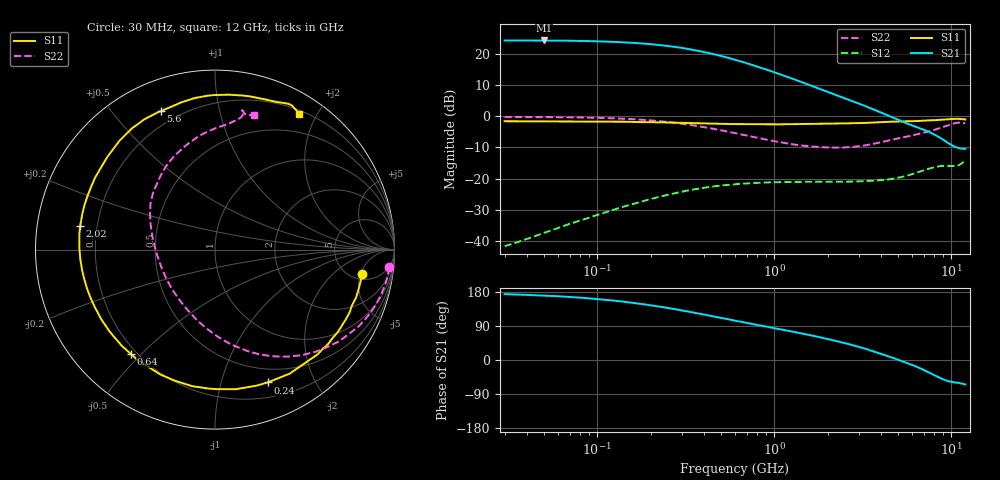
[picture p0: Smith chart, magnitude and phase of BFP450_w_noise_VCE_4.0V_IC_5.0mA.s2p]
! (c) 2015  Infineon Technologies AG, Munich
! Infineon Technologies  Discrete & RF Semiconductors
! BFP450
! VCE =  4.0 V,  IC =  5.0 mA
! Common Emitter S-Parameters:  Nov 2015
# GHz  S  MA  R  50
!  f  S11  S21  S12  S22
! GHz  MAG  ANG  MAG  ANG  MAG  ANG  MAG  ANG
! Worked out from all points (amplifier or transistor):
!   239 points, 30 MHz to 12 GHz, reference 50 ohm
!   highest |S21| = 24.4 dB at 50 MHz (marker M1)
!   |S21| within 3 dB of that: start of sweep to 346.5 MHz
!   unconditionally stable (mu >= 1): 2.471 GHz to end of sweep
!   at 300 MHz: K = 0.10, MSG = 23.1 dB, |S12| = -24.2 dB
!   at 1.88 GHz: K = 0.73, MSG = 14.7 dB, |S12| = -21.0 dB
!   at 12 GHz: K = 1.17, MAG = -0.6 dB, |S12| = -14.3 dB
!   lowest NFmin = 1.02 dB at 450 MHz
!   S11 on the Smith chart (normalised r, x): 30 MHz: 6.15, -5.39; 240 MHz: 0.35, -1.42; 640 MHz: 0.18, -0.47; 2.02 GHz: 0.14, +0.09; 5.6 GHz: 0.14, +0.67; 12 GHz: 0.25, +1.77
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0.03  0.8325 -9.3  16.49 173.8  0.0082 77.9  0.9763 -5.8
0.05  0.8302 -15.8  16.52 169.8  0.0134 76.3  0.9713 -9.7
0.06  0.8299 -18.9  16.47 168.3  0.016 76.3  0.9681 -11.6
0.085  0.8266 -26.6  16.21 163.7  0.0223 73.5  0.9554 -16.4
0.115  0.8215 -35.5  15.81 158.3  0.0294 69.5  0.9351 -21.9
0.15  0.817 -45.6  15.32 152.3  0.0373 64.9  0.9078 -28.1
0.19  0.8051 -56.3  14.58 146.0  0.0449 59.6  0.869 -34.6
0.24  0.7963 -68.3  13.66 138.8  0.0533 53.8  0.8208 -42.2
0.3  0.7865 -81.6  12.56 130.7  0.0616 47.7  0.7621 -50.5
0.4  0.7714 -99.6  10.8 119.8  0.0711 39.3  0.6712 -62.2
0.48  0.76 -111.1  9.596 112.7  0.0762 34.1  0.6098 -70.0
0.6  0.751 -125.1  8.093 103.7  0.0812 27.8  0.536 -80.4
0.64  0.7468 -128.8  7.689 101.5  0.0822 26.2  0.5161 -83.2
0.8  0.7438 -142.0  6.303 92.5  0.0854 20.8  0.4509 -94.4
1  0.7423 -154.2  5.085 83.9  0.0873 16.2  0.3978 -106.1
1.64  0.7545 -179.4  3.065 64.3  0.0887 8.8  0.3266 -135.9
2.02  0.7626 170.1  2.454 55.0  0.0889 6.7  0.3154 -150.0
3  0.7793 148.8  1.597 34.5  0.0901 4.9  0.3304 -179.4
4.5  0.8187 124.4  0.997 8.0  0.0975 5.0  0.4134 151.2
5.6  0.8286 111.4  0.77 -7.9  0.1109 4.3  0.4722 136.2
8  0.8666 84.9  0.511 -39.9  0.1521 -10.1  0.6044 105.2
12  0.8893 58.2  0.301 -64.5  0.1931 -34.3  0.7793 73.7
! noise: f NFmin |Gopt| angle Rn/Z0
0.45  1.02  0.17  79  -0.42
0.9  1.04  0.32  121  0.06
1.9  1.3  0.52  173  0.06
2.4  1.54  0.55  -171  0.06
